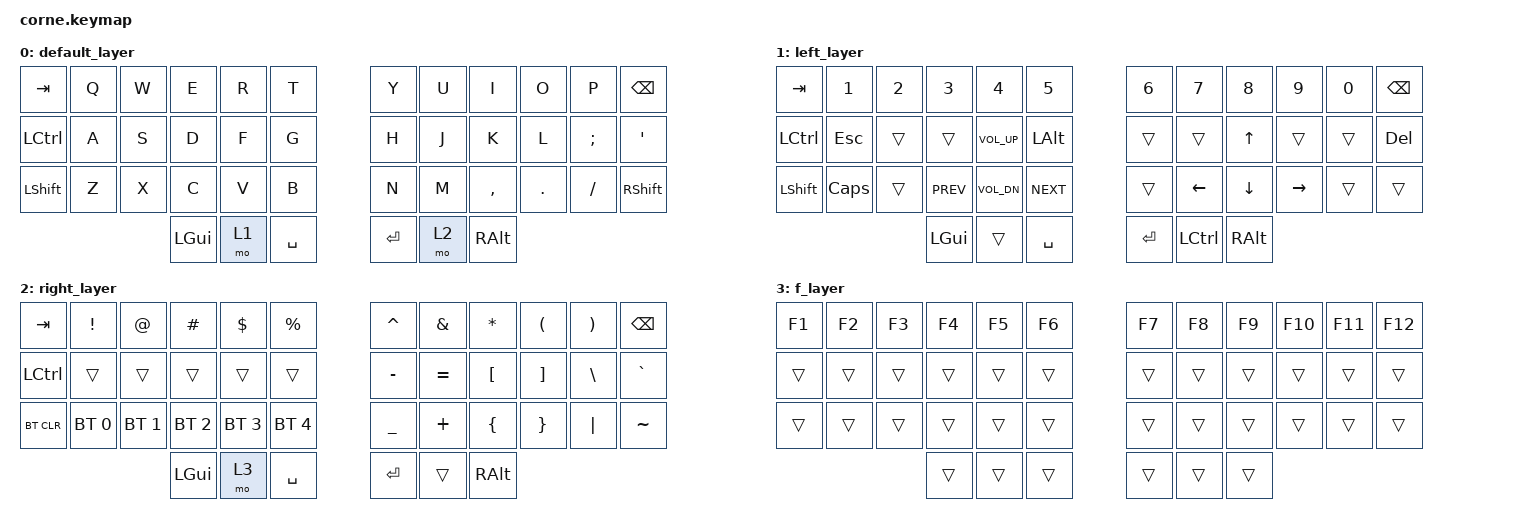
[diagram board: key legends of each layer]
/*
 * Copyright (c) 2020 The ZMK Contributors
 *
 * SPDX-License-Identifier: MIT
 */

#include <behaviors.dtsi>
#include <dt-bindings/zmk/keys.h>
#include <dt-bindings/zmk/bt.h>

#define default_layer 0
#define left_layer 1
#define right_layer 2
#define f_layer 3

/ {
        keymap {
                compatible = "zmk,keymap";

                default_layer {
// -----------------------------------------------------------------------------------------
// |  TAB |  Q  |  W  |  E  |  R  |  T  |   |  Y  |  U  |  I  |  O  |  P  | BSPC |
// | CTRL |  A  |  S  |  D  |  F  |  G  |   |  H  |  J  |  K  |  L  |  ;  |  '   |
// | SHFT |  Z  |  X  |  C  |  V  |  B  |   |  N  |  M  |  ,  |  .  |  /  | SHFT |
//                    | GUI |LLAYR| SPC |   | RET |RLAYR| ALT |
                        bindings = <
   &kp TAB    &kp Q  &kp W  &kp E     &kp R      &kp T            &kp Y    &kp U    &kp I      &kp O    &kp P     &kp BSPC
   &kp LCTRL  &kp A  &kp S  &kp D     &kp F      &kp G            &kp H    &kp J    &kp K      &kp L    &kp SEMI  &kp SQT
   &kp LSHFT  &kp Z  &kp X  &kp C     &kp V      &kp B            &kp N    &kp M    &kp COMMA  &kp DOT  &kp FSLH  &kp RSHFT
                            &kp LGUI  &mo 1      &kp SPACE        &kp RET  &mo 2    &kp RALT
                        >;
                };
                
                left_layer {
// -----------------------------------------------------------------------------------------
// |  TAB |  1  |  2  |  3  |  4  |  5  |   |  6  |  7  |  8  |  9  |  0  | BSPC |
// | CTRL | ESC |     |     |VOLUP| ALT |   |     |     |  UP |     |     |  DEL |
// | SHFT | CAPS|     | PREV|VOLDN| NEXT|   |     | LFT | DWN | RGHT|     |      |
//                    | GUI |     | SPC |   | RET | CTRL| ALT |
                        bindings = <
   &kp TAB    &kp N1    &kp N2  &kp N3        &kp N4        &kp N5               &kp N6     &kp N7     &kp N8    &kp N9     &kp N0  &kp BSPC
   &kp LCTRL  &kp ESC   &trans  &trans        &kp C_VOL_UP  &kp LALT               &trans     &trans     &kp UP    &trans     &trans  &kp DEL
   &kp LSHFT  &kp CAPS  &trans  &kp C_PREV    &kp C_VOL_DN  &kp C_NEXT           &trans     &kp LEFT   &kp DOWN  &kp RIGHT  &trans  &trans
                                &kp LGUI      &trans        &kp SPACE            &kp RET    &kp LCTRL  &kp RALT
                        >;
                };

                right_layer {
// -----------------------------------------------------------------------------------------
// |  TAB |  !  |  @  |  #  |  $  |  %  |   |  ^  |  &  |  *  |  (  |  )  | BSPC |
// | CTRL |     |     |     |     |     |   |  -  |  =  |  [  |  ]  |  \  |  `   |
// | BTCLR| BT1 | BT2 | BT3 | BT4 | BT5 |   |  _  |  +  |  {  |  }  | "|" |  ~   |
//                    | GUI |FLAYR| SPC |   | RET |     | ALT |
                        bindings = <
   &kp TAB     &kp EXCL      &kp AT        &kp HASH      &kp DLLR      &kp PRCNT           &kp CARET  &kp AMPS   &kp ASTRK  &kp LPAR  &kp RPAR  &kp BSPC
   &kp LCTRL   &trans        &trans        &trans        &trans        &trans              &kp MINUS  &kp EQUAL  &kp LBKT   &kp RBKT  &kp BSLH  &kp GRAVE
   &bt BT_CLR  &bt BT_SEL 0  &bt BT_SEL 1  &bt BT_SEL 2  &bt BT_SEL 3  &bt BT_SEL 4        &kp UNDER  &kp PLUS   &kp LBRC   &kp RBRC  &kp PIPE  &kp TILDE
                                           &kp LGUI      &mo 3         &kp SPACE           &kp RET    &trans     &kp RALT
                        >;
                };

                f_layer {
// -----------------------------------------------------------------------------------------
// |  F1  |  F2 |  F3 |  F4 |  F5 |  F6 |   |  F7 |  F8 |  F9 | F10 | F11 |  F12 |
// |      |     |     |     |     |     |   |     |     |     |     |     |      |
// |      |     |     |     |     |     |   |     |     |     |     |     |      |
//                    |     |     |     |   |     |     |     |
                        bindings = <
   &kp F1  &kp F2  &kp F3  &kp F4  &kp F5  &kp F6        &kp F7  &kp F8  &kp F9  &kp F10  &kp F11  &kp F12
   &trans  &trans  &trans  &trans  &trans  &trans        &trans  &trans  &trans  &trans   &trans   &trans
   &trans  &trans  &trans  &trans  &trans  &trans        &trans  &trans  &trans  &trans   &trans   &trans
                           &trans  &trans  &trans        &trans  &trans  &trans
                        >;
                };
        };
};
